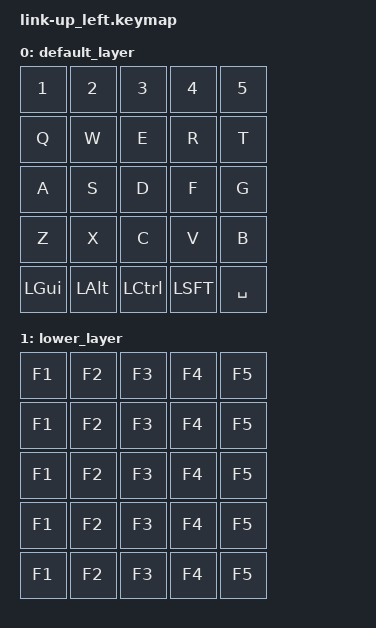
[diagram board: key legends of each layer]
/*
 * Copyright (c) 2021 The ZMK Contributors
 *
 * SPDX-License-Identifier: MIT
 */

#include <behaviors.dtsi>
#include <dt-bindings/zmk/keys.h>
#include <dt-bindings/zmk/bt.h>

/ {
        keymap {
                compatible = "zmk,keymap";

                default_layer {
// ----------------------------------------------------------------------------------
                        bindings = <
&kp N1   &kp N2   &kp N3   &kp N4   &kp N5  
&kp Q    &kp W    &kp E    &kp R    &kp T   
&kp A    &kp S    &kp D    &kp F    &kp G   
&kp Z    &kp X    &kp C    &kp V    &kp B   
&kp LGUI &kp LALT &kp LCTL &kp LSFT &kp SPACE 
                        >;
                };
                lower_layer {
// -----------------------------------------------------------------------------------------
                       bindings = <
&kp F1 &kp F2   &kp F3   &kp F4    &kp F5
&kp F1 &kp F2   &kp F3   &kp F4    &kp F5
&kp F1 &kp F2   &kp F3   &kp F4    &kp F5
&kp F1 &kp F2   &kp F3   &kp F4    &kp F5
&kp F1 &kp F2   &kp F3   &kp F4    &kp F5
                       >;
               };
        };
};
